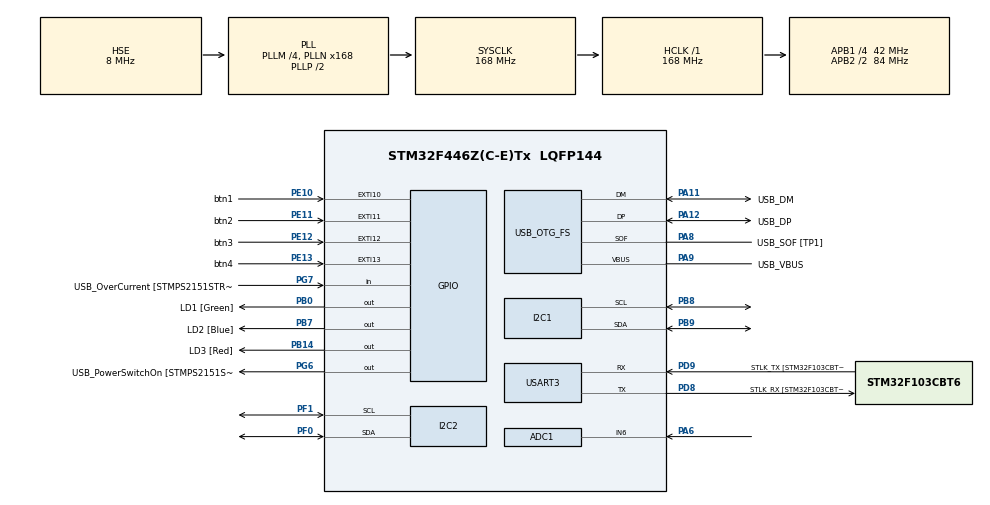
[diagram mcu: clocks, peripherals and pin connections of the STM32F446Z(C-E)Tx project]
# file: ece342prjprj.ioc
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ADC1.Channel-0\#ChannelRegularConversion=ADC_CHANNEL_6
ADC1.DMAContinuousRequests=ENABLE
ADC1.ExternalTrigConv=ADC_EXTERNALTRIGCONV_T2_TRGO
ADC1.NbrOfConversionFlag=1
ADC1.Rank-0\#ChannelRegularConversion=1
ADC1.SamplingTime-0\#ChannelRegularConversion=ADC_SAMPLETIME_3CYCLES
ADC1.master=1
Dma.ADC1.0.Direction=DMA_PERIPH_TO_MEMORY
Dma.ADC1.0.FIFOMode=DMA_FIFOMODE_ENABLE
Dma.ADC1.0.FIFOThreshold=DMA_FIFO_THRESHOLD_FULL
Dma.ADC1.0.Instance=DMA2_Stream0
Dma.ADC1.0.MemBurst=DMA_MBURST_SINGLE
Dma.ADC1.0.MemDataAlignment=DMA_MDATAALIGN_HALFWORD
Dma.ADC1.0.MemInc=DMA_MINC_ENABLE
Dma.ADC1.0.Mode=DMA_CIRCULAR
Dma.ADC1.0.PeriphBurst=DMA_PBURST_SINGLE
Dma.ADC1.0.PeriphDataAlignment=DMA_PDATAALIGN_HALFWORD
Dma.ADC1.0.PeriphInc=DMA_PINC_DISABLE
Dma.ADC1.0.Priority=DMA_PRIORITY_LOW
Dma.Request0=ADC1
Mcu.Family=STM32F4
Mcu.Name=STM32F446Z(C-E)Tx
Mcu.Package=LQFP144
NVIC.DMA2_Stream0_IRQn=true\:0\:0\:false\:false\:true\:false\:true\:true
NVIC.PriorityGroup=NVIC_PRIORITYGROUP_4
PA10.GPIO_Label=USB_ID
PA10.Signal=USB_OTG_FS_ID
PA11.GPIO_Label=USB_DM
PA11.Mode=Device_Only
PA11.Signal=USB_OTG_FS_DM
PA12.GPIO_Label=USB_DP
PA12.Mode=Device_Only
PA12.Signal=USB_OTG_FS_DP
PA13.GPIO_Label=TMS
PA13.Mode=Serial_Wire
PA13.Signal=SYS_JTMS-SWDIO
PA14.GPIO_Label=TCK
PA14.Mode=Serial_Wire
PA14.Signal=SYS_JTCK-SWCLK
PA6.Signal=ADCx_IN6
PA8.GPIO_Label=USB_SOF [TP1]
PA8.Mode=Activate_SOF_FS
PA8.Signal=USB_OTG_FS_SOF
PA9.GPIO_Label=USB_VBUS
PA9.Mode=Activate_VBUS
PA9.Signal=USB_OTG_FS_VBUS
PB0.GPIO_Label=LD1 [Green]
PB0.Signal=GPIO_Output
PB14.GPIO_Label=LD3 [Red]
PB14.Signal=GPIO_Output
PB7.GPIO_Label=LD2 [Blue]
PB7.Signal=GPIO_Output
PB8.Mode=I2C
PB8.Signal=I2C1_SCL
PB9.Mode=I2C
PB9.Signal=I2C1_SDA
PC14-OSC32_IN.Mode=LSE-External-Oscillator
PC14-OSC32_IN.Signal=RCC_OSC32_IN
PC15-OSC32_OUT.Mode=LSE-External-Oscillator
PC15-OSC32_OUT.Signal=RCC_OSC32_OUT
PD8.GPIO_Label=STLK_RX [STM32F103CBT6_PA3]
PD8.Mode=Asynchronous
PD8.Signal=USART3_TX
PD9.GPIO_Label=STLK_TX [STM32F103CBT6_PA2]
PD9.Mode=Asynchronous
PD9.Signal=USART3_RX
PE10.GPIO_Label=btn1
PE10.GPIO_PuPd=GPIO_PULLUP
PE10.Signal=GPXTI10
PE11.GPIO_Label=btn2
PE11.GPIO_PuPd=GPIO_PULLUP
PE11.Signal=GPXTI11
PE12.GPIO_Label=btn3
PE12.GPIO_PuPd=GPIO_PULLUP
PE12.Signal=GPXTI12
PE13.GPIO_Label=btn4
PE13.GPIO_PuPd=GPIO_PULLUP
PE13.Signal=GPXTI13
PF0.Mode=I2C
PF0.Signal=I2C2_SDA
PF1.Mode=I2C
PF1.Signal=I2C2_SCL
PG6.GPIO_Label=USB_PowerSwitchOn [STMPS2151STR_EN]
PG6.Signal=GPIO_Output
PG7.GPIO_Label=USB_OverCurrent [STMPS2151STR_FAULT]
PG7.Signal=GPIO_Input
PH0-OSC_IN.GPIO_Label=MCO [STM32F103CBT6_PA8]
PH0-OSC_IN.Mode=HSE-External-Clock-Source
PH0-OSC_IN.Signal=RCC_OSC_IN
PH1-OSC_OUT.Mode=HSE-External-Clock-Source
PH1-OSC_OUT.Signal=RCC_OSC_OUT
ProjectManager.HeapSize=0x200
ProjectManager.StackSize=0x400
ProjectManager.TargetToolchain=STM32CubeIDE
RCC.48MHZClocksFreq_Value=24000000
RCC.AHBFreq_Value=168000000
RCC.APB1CLKDivider=RCC_HCLK_DIV4
RCC.APB1Freq_Value=42000000
RCC.APB1TimFreq_Value=84000000
RCC.APB2CLKDivider=RCC_HCLK_DIV2
RCC.APB2Freq_Value=84000000
RCC.APB2TimFreq_Value=168000000
RCC.CortexFreq_Value=168000000
RCC.HCLKFreq_Value=168000000
RCC.HSE_VALUE=8000000
RCC.HSI_VALUE=16000000
RCC.PLLM=4
RCC.PLLMUL=RCC_PLL_MUL9
RCC.PLLN=168
RCC.PLLQ=7
RCC.PRESCALERUSB=RCC_USBCLKSOURCE_PLL_DIV1_5
RCC.SYSCLKFreq_VALUE=168000000
RCC.SYSCLKSource=RCC_SYSCLKSOURCE_PLLCLK
RCC.SYSCLKSourceVirtual=RCC_SYSCLKSOURCE_PLLCLK
RCC.USBFreq_Value=48000000
RCC.VCOOutputFreq_Value=336000000
SH.ADCx_IN6.0=ADC1_IN6,IN6
TIM2.AutoReloadPreload=TIM_AUTORELOAD_PRELOAD_DISABLE
TIM2.TIM_MasterOutputTrigger=TIM_TRGO_UPDATE
TIM2.TIM_MasterSlaveMode=TIM_MASTERSLAVEMODE_DISABLE
USART3.VirtualMode=VM_ASYNC
USB_OTG_FS.VirtualMode=Device_Only
VP_TIM2_VS_ClockSourceINT.Mode=Internal
board=NUCLEO-F446ZE

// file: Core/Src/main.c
/* USER CODE BEGIN Header */
/**
  ******************************************************************************
  * @file           : main.c
  * @brief          : Main program body
  ******************************************************************************
  * @attention
  *
  * Copyright (c) 2026 STMicroelectronics.
  * All rights reserved.
  *
  * This software is licensed under terms that can be found in the LICENSE file
  * in the root directory of this software component.
  * If no LICENSE file comes with this software, it is provided AS-IS.
  *
  ******************************************************************************
  */
/* USER CODE END Header */
#include "main.h"

/* USER CODE BEGIN Includes */
#include <string.h>
#include <math.h>
#include "config.h"
#include "scope.h"
#include "ssd1306.h"
#include "fonts.h"
#include "background.h"
/* USER CODE END Includes */

ADC_HandleTypeDef hadc1;
DMA_HandleTypeDef hdma_adc1;

I2C_HandleTypeDef hi2c1;
I2C_HandleTypeDef hi2c2;

TIM_HandleTypeDef htim2;

UART_HandleTypeDef huart3;

PCD_HandleTypeDef hpcd_USB_OTG_FS;

/* USER CODE BEGIN PV */
//OLED Screen
SSD1306_t oled1;
SSD1306_t oled2;

//Scope Settings
uint32_t hdiv = 200; //in us
int16_t hoffset = 0; //in us
uint32_t vdiv = 2000; //in mV
int16_t voffset = 0; //in mV
uint32_t triglvl = 2048; //in adc

//scope
extern volatile uint16_t adc_buf[ADC_BUF_LEN];
extern volatile uint8_t adc_half_ready;
extern volatile uint8_t adc_full_ready;

//test wave
uint16_t testSin[128];
char msg[64];

//OLED 2 stuff--------------------------------------------

//Buttons and Timing Flags
volatile uint32_t last_press_time = 0;
volatile uint8_t btn1_pressed = 0;
volatile uint8_t btn2_pressed = 0;
volatile uint8_t btn3_pressed = 0;
volatile uint8_t btn4_pressed = 0;
uint8_t update_display_flag = 1;

//Measurement Variables
float freq = 0.0, v_max = 0.0, v_min = 0.0, v_pp = 0.0;

//trigger mode
//volatile uint8_t trigger_mode = 0;//0 = Auto, 1 = Normal Triggered
uint32_t trig_timeout = 0;

/* USER CODE END PV */

void SystemClock_Config(void);
static void MX_GPIO_Init(void);
static void MX_DMA_Init(void);
static void MX_USART3_UART_Init(void);
static void MX_USB_OTG_FS_PCD_Init(void);
static void MX_I2C1_Init(void);
static void MX_I2C2_Init(void);
static void MX_ADC1_Init(void);
static void MX_TIM2_Init(void);
/* USER CODE BEGIN PFP */
void Calculate_Measurements(void);
void Update_OLED_Measurements(void);
/* USER CODE END PFP */

/* USER CODE BEGIN 0 */
void Calculate_Measurements(void) {
    uint16_t max_adc = 0;
    uint16_t min_adc = 4095;
    int zero_crossings = 0;

    for(int i = 0; i < DISPLAY_BUF_LEN; i++){
        if(display_buf[i] > max_adc) max_adc = display_buf[i];
        if(display_buf[i] < min_adc) min_adc = display_buf[i];

        // Zero-crossing (centered at 2048)
        if(i > 0) {
            //Only count rising edge crossing to get full cycles
            if (display_buf[i-1] < 2048 && display_buf[i] >= 2048) {
                zero_crossings++;
            }
        }
    }

    //vpp calculationss
    v_max = ((float)max_adc / 4095.0f) * 10;
    v_min = ((float)min_adc / 4095.0f) * 10;
    v_pp = 2*(v_max - v_min);

    //fixed the freq calculations
    if(zero_crossings > 0 && hdiv > 0) {
        //use 128 samples If each sample is (hdiv/32) microseconds
        float total_time_us = 128.0f * ((float)hdiv / 32.0f);
        freq = (float)zero_crossings * (1000000.0f / total_time_us);
    }else{
        freq = 0;
    }
}

void Update_OLED_Measurements(void){
    SSD1306_Fill(&oled2, SSD1306_COLOR_BLACK);
    SSD1306_SetCursor(&oled2, 0, 0);
    //had to correct hte way the output sprintf is done
    char buf[32];
    //Vertical Scale
    sprintf(buf, "V: %lumV/div", vdiv);
    SSD1306_Puts(&oled2, buf, &Font_7x10);

    //Horizontal Scale
    SSD1306_SetCursor(&oled2, 0, 12);
    sprintf(buf, "H: %luus/div", hdiv);
    SSD1306_Puts(&oled2, buf, &Font_7x10);

    //Vpp (Integer + 2 decimals)
    SSD1306_SetCursor(&oled2, 0, 30);
    int vpp_i = (int)v_pp;
    int vpp_d = (int)((v_pp - vpp_i) * 100);
    sprintf(buf, "Vpp: %d.%02dV", vpp_i, vpp_d);
    SSD1306_Puts(&oled2, buf, &Font_7x10);

    //Frequency
    SSD1306_SetCursor(&oled2, 0, 42);
    sprintf(buf, "Freq: %dHz", (int)freq);
    SSD1306_Puts(&oled2, buf, &Font_7x10);

    //Vertical Header on right side
    const char* side_text = "SCOPE";
    for (int i = 0; side_text[i] != '\0'; i++) {
        SSD1306_SetCursor(&oled2, 115, 5 + (i * 12));
        char temp[2] = {side_text[i], '\0'};
        SSD1306_Puts(&oled2, temp, &Font_7x10);
    }

    //trigger
    /*
    SSD1306_SetCursor(&oled2, 0, 54);
    if (trigger_mode) {
        SSD1306_Puts(&oled2, "MODE: NORM-TRIG", &Font_7x10);
    } else {
        SSD1306_Puts(&oled2, "MODE: AUTO", &Font_7x10);
    }*/

    //check sign for display
    float trig_volts = ((float)triglvl / 4095.0f * 10.0f)-5.0f;
    char sign = (trig_volts < 0) ? '-' : '+';
    float abs_trig = fabsf(trig_volts);
    int trig_i = (int)abs_trig;
    int trig_d = (int)((abs_trig - trig_i) * 100);
    SSD1306_SetCursor(&oled2, 0, 54);
    sprintf(buf, "Trig: %c%d.%02dV", sign, trig_i, trig_d);
    SSD1306_Puts(&oled2, buf, &Font_7x10);

    SSD1306_UpdateScreen(&oled2);
}
/* USER CODE END 0 */

int main(void)
{

  /* MCU Configuration--------------------------------------------------------*/

  /* Reset of all peripherals, Initializes the Flash interface and the Systick. */
  HAL_Init();

  /* Configure the system clock */
  SystemClock_Config();

  /* Initialize all configured peripherals */
  MX_GPIO_Init();
  MX_DMA_Init();
  MX_USART3_UART_Init();
  MX_USB_OTG_FS_PCD_Init();
  MX_I2C1_Init();
  MX_I2C2_Init();
  MX_ADC1_Init();
  MX_TIM2_Init();
  /* USER CODE BEGIN 2 */

  // ----------------- Init -----------------

  //SSD2306 Init
  if (SSD1306_Init(&oled1, &hi2c1, SSD1306_I2C_ADDR) != 0) Error_Handler();
  if (SSD1306_Init(&oled2, &hi2c2, SSD1306_I2C_ADDR) != 0) Error_Handler();
  SSD1306_Clear(&oled1);
  SSD1306_Clear(&oled2);
  SSD1306_UpdateScreen(&oled1);
  SSD1306_UpdateScreen(&oled2);

  //Scope Init
  Scope_Init(84000000);
  Scope_SetSamplingPeriodUs(hdiv/16);
  Scope_SetTriggerLevel(triglvl);
  Scope_Start();

  // ----------------- Splash Screen -----------------
  SSD1306_Clear(&oled2);
  SSD1306_SetCursor(&oled2, 0, 0);
  SSD1306_Puts(&oled2,"ECE342", &Font_11x18);
  SSD1306_SetCursor(&oled2, 0, 20);
  SSD1306_Puts(&oled2,"PRJECT DEMO", &Font_11x18);
  SSD1306_SetCursor(&oled2, 0, 50);
  SSD1306_Puts(&oled2,"By Thariq n Yusuf", &Font_7x10);
  SSD1306_UpdateScreen(&oled2);

  SSD1306_Scroll(&oled2, SSD1306_SCROLL_RIGHT, 0, 7);
  HAL_Delay(3500);
  SSD1306_Scroll(&oled2, SSD1306_SCROLL_LEFT, 0, 7);
  HAL_Delay(3500);
  SSD1306_Stopscroll(&oled2);

  /* USER CODE END 2 */

  /* Infinite loop */
  /* USER CODE BEGIN WHILE */
  while (1)
  {
//
	// ----------------- Settings Screen -----------------
    // Check for Hardware Button Inputs (Port E, Pins 10-13)
    if(btn1_pressed){ //Reset
        vdiv = 2000; hdiv = 200;
        Scope_SetSamplingPeriodUs(hdiv/32);
        btn1_pressed = 0;
        update_display_flag = 1;
    }
    if(btn2_pressed){
        triglvl += 400;// 1V increments
        if(triglvl>4095){
          triglvl=0;
        }
        btn2_pressed = 0;
        update_display_flag = 1;
        Scope_SetTriggerLevel(triglvl);
    }
    if(btn3_pressed){//Vertical Scale
        vdiv += 500;
        if(vdiv > 5000) vdiv = 500;
        btn3_pressed = 0;
        update_display_flag = 1;
    }
    if(btn4_pressed){//Horizontal Scale
        hdiv += 100;
        if(hdiv > 1000) hdiv = 100;
        Scope_SetSamplingPeriodUs(hdiv/16);//Tell hardware to slow down sampling
        btn4_pressed = 0;
        update_display_flag = 1;
    }

    // ----------------- Scope Triggered -----------------
	if (display_buf_ready){
		display_buf_ready = 0;
		Calculate_Measurements();
		Update_OLED_Measurements();//update OLED 2...

		buffer_Set(&oled1, Scopebackground);
		draw_Wave(&oled1, display_buf, vdiv, voffset);
		SSD1306_UpdateScreen(&oled1);

		Scope_Start();
	}

    // ----------------- Forced UI refresh -----------------
    if(update_display_flag) {
        Update_OLED_Measurements();
        update_display_flag = 0;
    }
    /* USER CODE END WHILE */

  }
}

void SystemClock_Config(void)
{
  RCC_OscInitTypeDef RCC_OscInitStruct = {0};
  RCC_ClkInitTypeDef RCC_ClkInitStruct = {0};

  /** Configure the main internal regulator output voltage
  */
  __HAL_RCC_PWR_CLK_ENABLE();
  __HAL_PWR_VOLTAGESCALING_CONFIG(PWR_REGULATOR_VOLTAGE_SCALE1);

  /** Initializes the RCC Oscillators according to the specified parameters
  * in the RCC_OscInitTypeDef structure.
  */
  RCC_OscInitStruct.OscillatorType = RCC_OSCILLATORTYPE_HSE;
  RCC_OscInitStruct.HSEState = RCC_HSE_BYPASS;
  RCC_OscInitStruct.PLL.PLLState = RCC_PLL_ON;
  RCC_OscInitStruct.PLL.PLLSource = RCC_PLLSOURCE_HSE;
  RCC_OscInitStruct.PLL.PLLM = 4;
  RCC_OscInitStruct.PLL.PLLN = 168;
  RCC_OscInitStruct.PLL.PLLP = RCC_PLLP_DIV2;
  RCC_OscInitStruct.PLL.PLLQ = 7;
  RCC_OscInitStruct.PLL.PLLR = 2;
  if (HAL_RCC_OscConfig(&RCC_OscInitStruct) != HAL_OK)
  {
    Error_Handler();
  }

  /** Initializes the CPU, AHB and APB buses clocks
  */
  RCC_ClkInitStruct.ClockType = RCC_CLOCKTYPE_HCLK|RCC_CLOCKTYPE_SYSCLK
                              |RCC_CLOCKTYPE_PCLK1|RCC_CLOCKTYPE_PCLK2;
  RCC_ClkInitStruct.SYSCLKSource = RCC_SYSCLKSOURCE_PLLCLK;
  RCC_ClkInitStruct.AHBCLKDivider = RCC_SYSCLK_DIV1;
  RCC_ClkInitStruct.APB1CLKDivider = RCC_HCLK_DIV4;
  RCC_ClkInitStruct.APB2CLKDivider = RCC_HCLK_DIV2;

  if (HAL_RCC_ClockConfig(&RCC_ClkInitStruct, FLASH_LATENCY_5) != HAL_OK)
  {
    Error_Handler();
  }
}

static void MX_ADC1_Init(void)
{

  ADC_ChannelConfTypeDef sConfig = {0};

  /** Configure the global features of the ADC (Clock, Resolution, Data Alignment and number of conversion)
  */
  hadc1.Instance = ADC1;
  hadc1.Init.ClockPrescaler = ADC_CLOCK_SYNC_PCLK_DIV4;
  hadc1.Init.Resolution = ADC_RESOLUTION_12B;
  hadc1.Init.ScanConvMode = DISABLE;
  hadc1.Init.ContinuousConvMode = DISABLE;
  hadc1.Init.DiscontinuousConvMode = DISABLE;
  hadc1.Init.ExternalTrigConvEdge = ADC_EXTERNALTRIGCONVEDGE_RISING;
  hadc1.Init.ExternalTrigConv = ADC_EXTERNALTRIGCONV_T2_TRGO;
  hadc1.Init.DataAlign = ADC_DATAALIGN_RIGHT;
  hadc1.Init.NbrOfConversion = 1;
  hadc1.Init.DMAContinuousRequests = ENABLE;
  hadc1.Init.EOCSelection = ADC_EOC_SINGLE_CONV;
  if (HAL_ADC_Init(&hadc1) != HAL_OK)
  {
    Error_Handler();
  }

  /** Configure for the selected ADC regular channel its corresponding rank in the sequencer and its sample time.
  */
  sConfig.Channel = ADC_CHANNEL_6;
  sConfig.Rank = 1;
  sConfig.SamplingTime = ADC_SAMPLETIME_3CYCLES;
  if (HAL_ADC_ConfigChannel(&hadc1, &sConfig) != HAL_OK)
  {
    Error_Handler();
  }

}

static void MX_I2C1_Init(void)
{

  hi2c1.Instance = I2C1;
  hi2c1.Init.ClockSpeed = 100000;
  hi2c1.Init.DutyCycle = I2C_DUTYCYCLE_2;
  hi2c1.Init.OwnAddress1 = 0;
  hi2c1.Init.AddressingMode = I2C_ADDRESSINGMODE_7BIT;
  hi2c1.Init.DualAddressMode = I2C_DUALADDRESS_DISABLE;
  hi2c1.Init.OwnAddress2 = 0;
  hi2c1.Init.GeneralCallMode = I2C_GENERALCALL_DISABLE;
  hi2c1.Init.NoStretchMode = I2C_NOSTRETCH_DISABLE;
  if (HAL_I2C_Init(&hi2c1) != HAL_OK)
  {
    Error_Handler();
  }

}

static void MX_I2C2_Init(void)
{

  hi2c2.Instance = I2C2;
  hi2c2.Init.ClockSpeed = 100000;
  hi2c2.Init.DutyCycle = I2C_DUTYCYCLE_2;
  hi2c2.Init.OwnAddress1 = 0;
  hi2c2.Init.AddressingMode = I2C_ADDRESSINGMODE_7BIT;
  hi2c2.Init.DualAddressMode = I2C_DUALADDRESS_DISABLE;
  hi2c2.Init.OwnAddress2 = 0;
  hi2c2.Init.GeneralCallMode = I2C_GENERALCALL_DISABLE;
  hi2c2.Init.NoStretchMode = I2C_NOSTRETCH_DISABLE;
  if (HAL_I2C_Init(&hi2c2) != HAL_OK)
  {
    Error_Handler();
  }

}

static void MX_TIM2_Init(void)
{

  TIM_ClockConfigTypeDef sClockSourceConfig = {0};
  TIM_MasterConfigTypeDef sMasterConfig = {0};

  htim2.Instance = TIM2;
  htim2.Init.Prescaler = 0;
  htim2.Init.CounterMode = TIM_COUNTERMODE_UP;
  htim2.Init.Period = 4294967295;
  htim2.Init.ClockDivision = TIM_CLOCKDIVISION_DIV1;
  htim2.Init.AutoReloadPreload = TIM_AUTORELOAD_PRELOAD_DISABLE;
  if (HAL_TIM_Base_Init(&htim2) != HAL_OK)
  {
    Error_Handler();
  }
  sClockSourceConfig.ClockSource = TIM_CLOCKSOURCE_INTERNAL;
  if (HAL_TIM_ConfigClockSource(&htim2, &sClockSourceConfig) != HAL_OK)
  {
    Error_Handler();
  }
  sMasterConfig.MasterOutputTrigger = TIM_TRGO_UPDATE;
  sMasterConfig.MasterSlaveMode = TIM_MASTERSLAVEMODE_DISABLE;
  if (HAL_TIMEx_MasterConfigSynchronization(&htim2, &sMasterConfig) != HAL_OK)
  {
    Error_Handler();
  }

}

static void MX_USART3_UART_Init(void)
{

  huart3.Instance = USART3;
  huart3.Init.BaudRate = 115200;
  huart3.Init.WordLength = UART_WORDLENGTH_8B;
  huart3.Init.StopBits = UART_STOPBITS_1;
  huart3.Init.Parity = UART_PARITY_NONE;
  huart3.Init.Mode = UART_MODE_TX_RX;
  huart3.Init.HwFlowCtl = UART_HWCONTROL_NONE;
  huart3.Init.OverSampling = UART_OVERSAMPLING_16;
  if (HAL_UART_Init(&huart3) != HAL_OK)
  {
    Error_Handler();
  }

}

static void MX_USB_OTG_FS_PCD_Init(void)
{

  hpcd_USB_OTG_FS.Instance = USB_OTG_FS;
  hpcd_USB_OTG_FS.Init.dev_endpoints = 6;
  hpcd_USB_OTG_FS.Init.speed = PCD_SPEED_FULL;
  hpcd_USB_OTG_FS.Init.dma_enable = DISABLE;
  hpcd_USB_OTG_FS.Init.phy_itface = PCD_PHY_EMBEDDED;
  hpcd_USB_OTG_FS.Init.Sof_enable = ENABLE;
  hpcd_USB_OTG_FS.Init.low_power_enable = DISABLE;
  hpcd_USB_OTG_FS.Init.lpm_enable = DISABLE;
  hpcd_USB_OTG_FS.Init.vbus_sensing_enable = ENABLE;
  hpcd_USB_OTG_FS.Init.use_dedicated_ep1 = DISABLE;
  if (HAL_PCD_Init(&hpcd_USB_OTG_FS) != HAL_OK)
  {
    Error_Handler();
  }

}

static void MX_DMA_Init(void)
{

  /* DMA controller clock enable */
  __HAL_RCC_DMA2_CLK_ENABLE();

  /* DMA interrupt init */
  /* DMA2_Stream0_IRQn interrupt configuration */
  HAL_NVIC_SetPriority(DMA2_Stream0_IRQn, 0, 0);
  HAL_NVIC_EnableIRQ(DMA2_Stream0_IRQn);

}

static void MX_GPIO_Init(void)
{
  GPIO_InitTypeDef GPIO_InitStruct = {0};

  /* GPIO Ports Clock Enable */
  __HAL_RCC_GPIOC_CLK_ENABLE();
  __HAL_RCC_GPIOF_CLK_ENABLE();
  __HAL_RCC_GPIOH_CLK_ENABLE();
  __HAL_RCC_GPIOA_CLK_ENABLE();
  __HAL_RCC_GPIOB_CLK_ENABLE();
  __HAL_RCC_GPIOE_CLK_ENABLE();
  __HAL_RCC_GPIOD_CLK_ENABLE();
  __HAL_RCC_GPIOG_CLK_ENABLE();

  /*Configure GPIO pin Output Level */
  HAL_GPIO_WritePin(GPIOB, LD1_Pin|LD3_Pin|LD2_Pin, GPIO_PIN_RESET);

  /*Configure GPIO pin Output Level */
  HAL_GPIO_WritePin(USB_PowerSwitchOn_GPIO_Port, USB_PowerSwitchOn_Pin, GPIO_PIN_RESET);

  /*Configure GPIO pins : LD1_Pin LD3_Pin LD2_Pin */
  GPIO_InitStruct.Pin = LD1_Pin|LD3_Pin|LD2_Pin;
  GPIO_InitStruct.Mode = GPIO_MODE_OUTPUT_PP;
  GPIO_InitStruct.Pull = GPIO_PULLUP;
  GPIO_InitStruct.Speed = GPIO_SPEED_FREQ_LOW;
  HAL_GPIO_Init(GPIOB, &GPIO_InitStruct);

  /*Configure GPIO pins : btn1_Pin btn2_Pin btn3_Pin btn4_Pin */
  GPIO_InitStruct.Pin = btn1_Pin|btn2_Pin|btn3_Pin|btn4_Pin;
  GPIO_InitStruct.Mode = GPIO_MODE_IT_RISING;
  GPIO_InitStruct.Pull = GPIO_PULLUP;
  HAL_GPIO_Init(GPIOE, &GPIO_InitStruct);

  /*Configure GPIO pin : USB_PowerSwitchOn_Pin */
  GPIO_InitStruct.Pin = USB_PowerSwitchOn_Pin;
  GPIO_InitStruct.Mode = GPIO_MODE_OUTPUT_PP;
  GPIO_InitStruct.Pull = GPIO_PULLUP;
  GPIO_InitStruct.Speed = GPIO_SPEED_FREQ_LOW;
  HAL_GPIO_Init(USB_PowerSwitchOn_GPIO_Port, &GPIO_InitStruct);

  /*Configure GPIO pin : USB_OverCurrent_Pin */
  GPIO_InitStruct.Pin = USB_OverCurrent_Pin;
  GPIO_InitStruct.Mode = GPIO_MODE_INPUT;
  GPIO_InitStruct.Pull = GPIO_PULLUP;
  HAL_GPIO_Init(USB_OverCurrent_GPIO_Port, &GPIO_InitStruct);

  /* EXTI interrupt init*/
  HAL_NVIC_SetPriority(EXTI15_10_IRQn, 0, 0);
  HAL_NVIC_EnableIRQ(EXTI15_10_IRQn);

}

/* USER CODE BEGIN 4 */
void HAL_GPIO_EXTI_Callback(uint16_t GPIO_Pin)
{
    uint32_t now = HAL_GetTick();
    //Debouncing; 200ms
    if(now - last_press_time > 200) {
        if(GPIO_Pin == GPIO_PIN_10){
          btn1_pressed = 1;
          HAL_GPIO_TogglePin(GPIOB, LD1_Pin); //Debug
        }
        else if(GPIO_Pin == GPIO_PIN_11){
          btn2_pressed = 1;
        }
        else if(GPIO_Pin == GPIO_PIN_12){
          btn3_pressed = 1;
          HAL_GPIO_TogglePin(GPIOB, LD2_Pin); //Debug
        }
        else if(GPIO_Pin == GPIO_PIN_13){
          btn4_pressed = 1;
          HAL_GPIO_TogglePin(GPIOB, LD3_Pin); //Debug
        }
        last_press_time = now;
    }
}
/* USER CODE END 4 */

void Error_Handler(void)
{
  __disable_irq();
  while (1)
  {
  }
}
